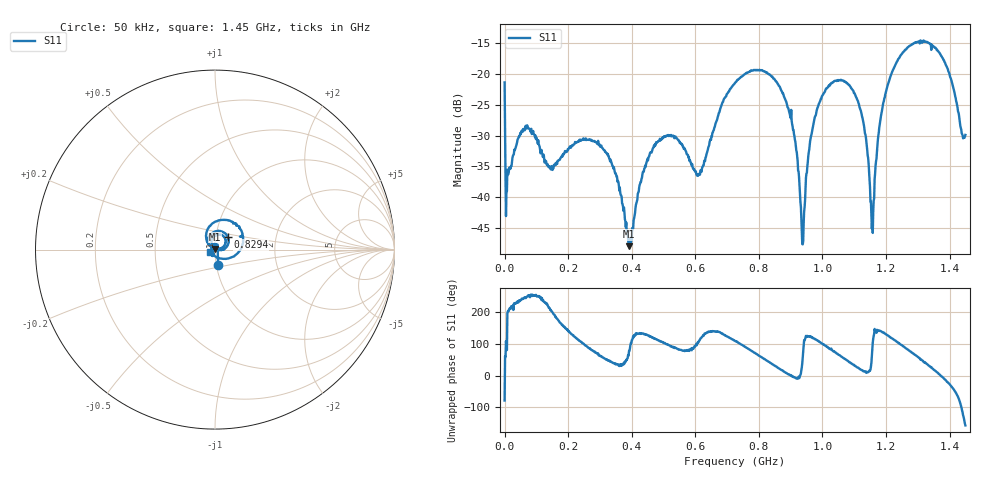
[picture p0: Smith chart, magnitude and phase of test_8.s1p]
! Created with skrf 1.11.0 (http://scikit-rf.org).
# Hz S RI R 50.0
!freq ReS11 ImS11
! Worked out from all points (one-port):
!   1001 points, 50 kHz to 1.45 GHz, reference 50 ohm
!   lowest |S11| = -47.9 dB at 390.1 MHz (marker M1), VSWR 1.01, Z = 50.2 + j0.36 ohm
!   |S11| at or under -10 dB: start of sweep to end of sweep
!   S11 on the Smith chart (normalised r, x): 50 kHz: 1.02, -0.17; 829.4 MHz: 1.14, +0.16; 1.45 GHz: 0.94, -0.02
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50000  0.0171 -0.0836
1.019965e7  -0.0141 -0.00607
6.67477e7  -0.016 -0.0345
1.43595e8  -0.0153 -0.00805
1.812938e8  -0.0205 0.00751
2.871401e8  0.0082 0.0269
3.625375e8  0.0103 0.00623
3.900866e8  0.00181 0.00359
4.62584e8  -0.0123 0.0194
5.437812e8  0.00271 0.0295
6.119289e8  -0.00536 0.0143
6.844264e8  -0.0389 0.0425
7.25025e8  -0.029 0.0794
8.294214e8  0.0708 0.0706
8.7147e8  0.0692 0.022
9.062688e8  0.0374 -0.00235
9.381676e8  0.00208 0.0036
9.613668e8  -0.0153 0.024
9.889159e8  -0.0174 0.0546
1.033864e9  0.0186 0.0837
1.087512e9  0.0593 0.0523
1.129561e9  0.0383 0.00989
1.15711e9  0.000761 0.00652
1.178859e9  -0.0291 0.0221
1.196259e9  -0.044 0.0468
1.268756e9  0.0206 0.1636
1.371703e9  0.1438 0.00215
1.45e9  -0.0295 -0.0124
